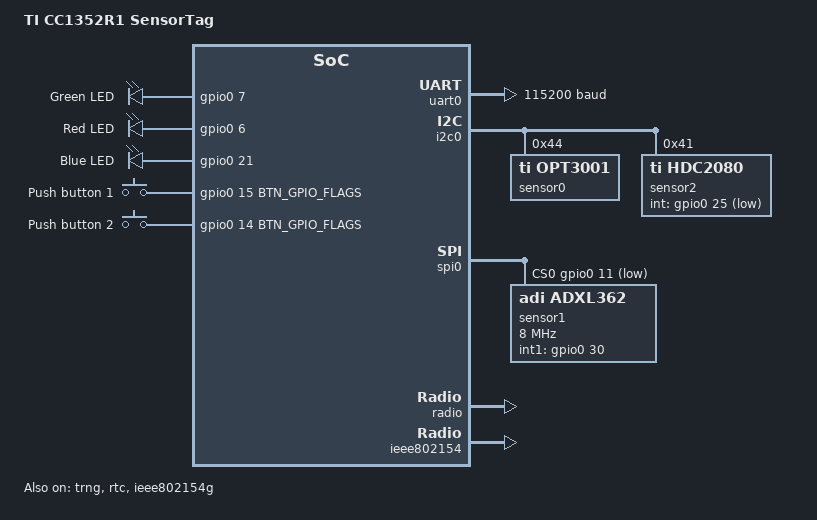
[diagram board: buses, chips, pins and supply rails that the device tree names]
/*
 * Copyright (c) 2019 Brett Witherspoon
 * Copyright (c) 2020 Friedt Professional Engineering Services, Inc
 *
 * SPDX-License-Identifier: Apache-2.0
 */

/dts-v1/;

#include <ti/cc1352r.dtsi>
#include "../cc1352r1_launchxl/boosterpack_connector.dtsi"
#include "cc1352r_sensortag-pinctrl.dtsi"

#define BTN_GPIO_FLAGS (GPIO_ACTIVE_LOW | GPIO_PULL_UP)

/ {
	model = "TI CC1352R1 SensorTag";
	compatible = "ti,sensortag-cc1352r";

	aliases {
		led0 = &led0;
		led1 = &led1;
		led2 = &led2;
		sw0 = &btn0;
		sw1 = &btn1;
		sensor0 = &sensor0;
		sensor1 = &sensor1;
		sensor2 = &sensor2;
		accel0 = &sensor1;
	};

	chosen {
		zephyr,sram = &sram0;
		zephyr,flash = &flash0;
		zephyr,console = &uart0;
		zephyr,shell-uart = &uart0;
		zephyr,ieee802154 = &ieee802154;
	};

	leds {
		compatible = "gpio-leds";
		led0: led_0 {
			gpios = <&gpio0 7 GPIO_ACTIVE_HIGH>;
			label = "Green LED";
		};
		led1: led_1 {
			gpios = <&gpio0 6 GPIO_ACTIVE_HIGH>;
			label = "Red LED";
		};
		led2: led_2 {
			gpios = <&gpio0 21 GPIO_ACTIVE_HIGH>;
			label = "Blue LED";
		};
	};

	keys {
		compatible = "gpio-keys";
		btn0: btn_0 {
			gpios = <&gpio0 15 BTN_GPIO_FLAGS>;
			label = "Push button 1";
		};
		btn1: btn_1 {
			gpios = <&gpio0 14 BTN_GPIO_FLAGS>;
			label = "Push button 2";
		};
	};

	power-states {
		idle: idle {
			compatible = "zephyr,power-state";
			power-state-name = "suspend-to-idle";
			min-residency-us = <1000>;
		};

		standby: standby {
			compatible = "zephyr,power-state";
			power-state-name = "standby";
			min-residency-us = <5000>;
			exit-latency-us = <240>;
		};
	};
};

&cpu0 {
	clock-frequency = <48000000>;
	cpu-power-states = <&idle &standby>;
};

&trng {
	status = "okay";
};

&gpio0 {
	status = "okay";
};

&uart0 {
	status = "okay";
	current-speed = <115200>;
	pinctrl-0 = <&uart0_rx_default &uart0_tx_default>;
	pinctrl-names = "default";
};

&i2c0 {
	status = "okay";
	pinctrl-0 = <&i2c0_scl_default &i2c0_sda_default>;
	pinctrl-1 = <&i2c0_scl_sleep &i2c0_sda_sleep>;
	pinctrl-names = "default", "sleep";

	sensor0: sensor@44 {
		compatible = "ti,opt3001";
		reg = <0x44>;
	};

	sensor2: sensor@41 {
		compatible = "ti,hdc2080";
		reg = <0x41>;
		int-gpios = <&gpio0 25 GPIO_ACTIVE_LOW>;
	};
};

&spi0 {
	status = "okay";
	pinctrl-0 = <&spi0_sck_default &spi0_mosi_default
				 &spi0_miso_default>;
	pinctrl-names = "default";
	cs-gpios = <&gpio0 11 GPIO_ACTIVE_LOW>;

	sensor1: sensor@0 {
		compatible = "adi,adxl362";
		reg = <0>;
		int1-gpios = <&gpio0 30 GPIO_ACTIVE_HIGH>;
		spi-max-frequency = <8000000>;
	};

	/* TODO: "jedec,spi-nor" for the mx25r8035 */
};

&rtc {
	status = "okay";
};

&radio {
	status = "okay";
};

&ieee802154 {
	status = "okay";
};

&ieee802154g {
	status = "okay";
};
